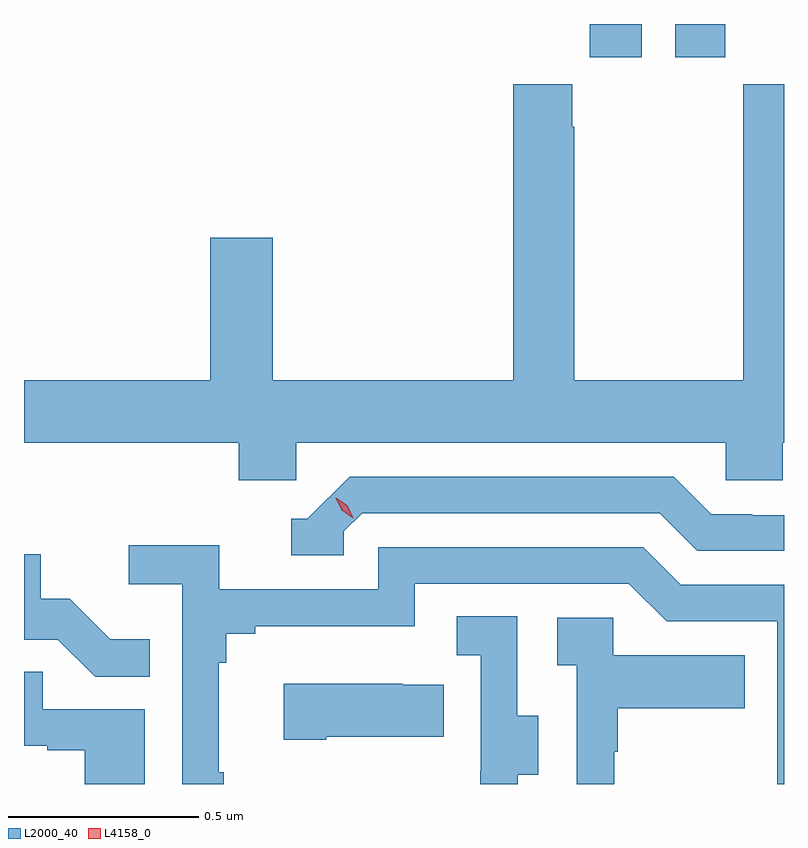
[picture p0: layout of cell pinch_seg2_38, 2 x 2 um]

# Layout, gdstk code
import gdstk
lib = gdstk.Library(unit=1e-6, precision=1e-09)
def R(c, l, rs):  # rectangles x0, y0, x1, y1
    for r in rs: c.add(gdstk.rectangle(r[:2], r[2:], *l))
def P(c, l, *ps):  # polygons
    for p in ps: c.add(gdstk.Polygon(p, *l))
L2000_40 = (2000, 40)
L4158_0 = (4158, 0)

pinch_seg2_38 = lib.new_cell('pinch_seg2_38')
R(pinch_seg2_38, L2000_40, [(1143.029,659.307,1143.166,659.394), (1143.254,659.307,1143.385,659.394)])
P(pinch_seg2_38, L2000_40, [(1142.256,658.292),(1143.387,658.292),(1143.387,658.194),(1143.537,658.194),(1143.537,658.292),(1143.54,658.292),(1143.54,659.236),(1143.433,659.236),(1143.433,658.456),(1142.988,658.456),(1142.988,659.123),(1142.983,659.123),(1142.983,659.236),(1142.828,659.236),(1142.828,658.456),(1142.194,658.456),(1142.194,658.831),(1142.03,658.831),(1142.03,658.456),(1141.54,658.456),(1141.54,658.292),(1142.105,658.292),(1142.105,658.194),(1142.256,658.194)],
  [(1142.382,658.059),(1142.43,658.107),(1143.213,658.107),(1143.312,658.008),(1143.54,658.008),(1143.54,658.101),(1143.456,658.101),(1143.456,658.104),(1143.349,658.104),(1143.25,658.203),(1142.397,658.203),(1142.286,658.092),(1142.243,658.092),(1142.243,657.996),(1142.382,657.996)],
  [(1142.065,657.425),(1142.053,657.425),(1142.053,657.713),(1142.072,657.713),(1142.072,657.79),(1142.149,657.79),(1142.149,657.809),(1142.568,657.809),(1142.568,657.921),(1143.132,657.921),(1143.231,657.822),(1143.522,657.822),(1143.522,657.394),(1143.54,657.394),(1143.54,657.918),(1143.268,657.918),(1143.169,658.017),(1142.472,658.017),(1142.472,657.906),(1142.054,657.906),(1142.054,658.022),(1141.815,658.022),(1141.815,657.92),(1141.956,657.92),(1141.956,657.394),(1142.065,657.394)],
  [(1141.871,657.775),(1141.767,657.775),(1141.66,657.882),(1141.584,657.882),(1141.584,657.999),(1141.54,657.999),(1141.54,657.774),(1141.629,657.774),(1141.727,657.676),(1141.871,657.676)],
  [(1142.839,657.418),(1142.893,657.418),(1142.893,657.573),(1142.838,657.573),(1142.838,657.836),(1142.679,657.836),(1142.679,657.733),(1142.742,657.733),(1142.742,657.429),(1142.741,657.429),(1142.741,657.394),(1142.839,657.394)],
  [(1143.093,657.479),(1143.103,657.479),(1143.103,657.593),(1143.437,657.593),(1143.437,657.733),(1143.09,657.733),(1143.09,657.831),(1142.943,657.831),(1142.943,657.707),(1142.994,657.707),(1142.994,657.394),(1143.093,657.394)],
  [(1141.858,657.591),(1141.589,657.591),(1141.589,657.689),(1141.54,657.689),(1141.54,657.495),(1141.601,657.495),(1141.601,657.483),(1141.7,657.483),(1141.7,657.394),(1141.858,657.394)],
  [(1142.335,657.518),(1142.645,657.518),(1142.645,657.655),(1142.537,657.655),(1142.537,657.658),(1142.223,657.658),(1142.223,657.511),(1142.335,657.511)])
P(pinch_seg2_38, L4158_0, [(1142.407,658.094),(1142.376,658.114),(1142.361,658.147),(1142.361,658.147),(1142.361,658.147),(1142.391,658.127),(1142.407,658.094),(1142.407,658.094)])

lib.write_gds('pinch_seg2_38.gds')
